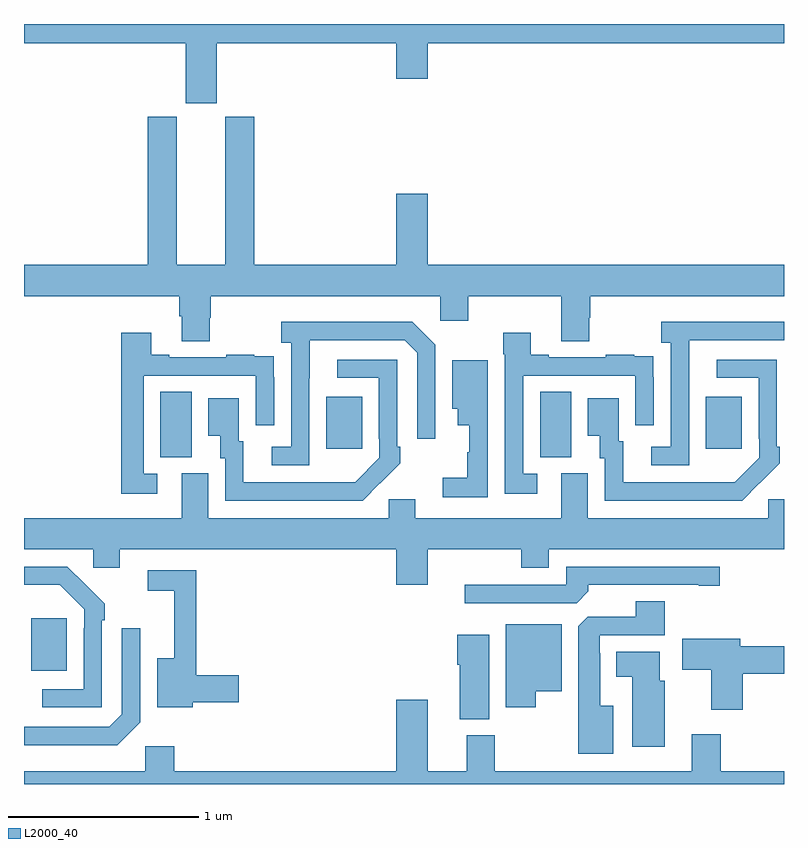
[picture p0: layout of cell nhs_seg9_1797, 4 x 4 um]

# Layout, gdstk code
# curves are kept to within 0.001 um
import gdstk
lib = gdstk.Library(unit=1e-6, precision=1e-09)
def R(c, l, rs):  # rectangles x0, y0, x1, y1
    for r in rs: c.add(gdstk.rectangle(r[:2], r[2:], *l))
def P(c, l, *ps):  # polygons
    for p in ps: c.add(gdstk.Polygon(p, *l))
L2000_40 = (2000, 40)

nhs_seg9_1797 = lib.new_cell('nhs_seg9_1797')
R(nhs_seg9_1797, L2000_40, [(211.037,1213.097,211.225,1213.372), (211.718,1214.221,211.882,1214.564), (213.716,1214.221,213.88,1214.564), (212.591,1214.265,212.779,1214.539), (214.589,1214.265,214.777,1214.539)])
P(nhs_seg9_1797, L2000_40, [(212.014,1216.4),(212.96,1216.4),(212.96,1216.212),(213.124,1216.212),(213.124,1216.4),(215,1216.4),(215,1216.5),(211,1216.5),(211,1216.4),(211.85,1216.4),(211.85,1216.083),(212.014,1216.083)],
  [(211.977,1214.955),(211.982,1214.955),(211.982,1215.068),(213.192,1215.068),(213.192,1214.937),(213.339,1214.937),(213.339,1215.068),(213.827,1215.068),(213.827,1214.83),(213.975,1214.83),(213.975,1214.955),(213.98,1214.955),(213.98,1215.068),(215,1215.068),(215,1215.232),(213.124,1215.232),(213.124,1215.607),(212.96,1215.607),(212.96,1215.232),(212.213,1215.232),(212.213,1216.011),(212.06,1216.011),(212.06,1215.232),(211.804,1215.232),(211.804,1216.011),(211.652,1216.011),(211.652,1215.232),(211,1215.232),(211,1215.068),(211.817,1215.068),(211.817,1214.962),(211.829,1214.962),(211.829,1214.83),(211.977,1214.83)],
  [(214.5,1214.635),(214.501,1214.635),(214.501,1214.835),(215,1214.835),(215,1214.932),(214.353,1214.932),(214.353,1214.822),(214.404,1214.822),(214.404,1214.274),(214.302,1214.274),(214.302,1214.178),(214.5,1214.178)],
  [(212.502,1214.635),(212.503,1214.835),(213.003,1214.835),(213.069,1214.769),(213.069,1214.316),(213.165,1214.316),(213.165,1214.811),(213.044,1214.932),(212.355,1214.932),(212.355,1214.822),(212.406,1214.822),(212.406,1214.274),(212.304,1214.274),(212.304,1214.178),(212.502,1214.178)],
  [(213.7,1214.133),(213.627,1214.133),(213.627,1214.649),(214.218,1214.649),(214.218,1214.388),(214.314,1214.388),(214.314,1214.642),(214.313,1214.642),(214.313,1214.751),(214.211,1214.751),(214.211,1214.758),(214.063,1214.758),(214.063,1214.745),(213.763,1214.745),(213.763,1214.758),(213.667,1214.758),(213.667,1214.875),(213.523,1214.875),(213.523,1214.762),(213.531,1214.762),(213.531,1214.028),(213.7,1214.028)],
  [(211.702,1214.133),(211.629,1214.133),(211.629,1214.649),(212.22,1214.649),(212.22,1214.388),(212.316,1214.388),(212.316,1214.642),(212.315,1214.642),(212.315,1214.751),(212.213,1214.751),(212.213,1214.758),(212.065,1214.758),(212.065,1214.745),(211.765,1214.745),(211.765,1214.758),(211.669,1214.758),(211.669,1214.875),(211.513,1214.875),(211.513,1214.028),(211.702,1214.028)],
  [(214.871,1214.083),(214.872,1214.082),(214.977,1214.187),(214.977,1214.275),(214.962,1214.275),(214.962,1214.733),(214.647,1214.733),(214.647,1214.637),(214.866,1214.637),(214.866,1214.317),(214.869,1214.317),(214.869,1214.217),(214.741,1214.089),(214.153,1214.088),(214.153,1214.304),(214.129,1214.304),(214.129,1214.53),(213.968,1214.53),(213.968,1214.333),(214.031,1214.333),(214.031,1214.214),(214.056,1214.214),(214.056,1213.992),(214.78,1213.992)],
  [(212.873,1214.083),(212.874,1214.082),(212.979,1214.187),(212.979,1214.275),(212.964,1214.275),(212.964,1214.733),(212.649,1214.733),(212.649,1214.637),(212.868,1214.637),(212.868,1214.317),(212.871,1214.317),(212.871,1214.217),(212.743,1214.089),(212.155,1214.088),(212.155,1214.304),(212.131,1214.304),(212.131,1214.53),(211.97,1214.53),(211.97,1214.333),(212.033,1214.333),(212.033,1214.214),(212.058,1214.214),(212.058,1213.992),(212.782,1213.992)],
  [(213.441,1214.491),(213.442,1214.491),(213.442,1214.731),(213.254,1214.731),(213.254,1214.474),(213.284,1214.474),(213.284,1214.387),(213.344,1214.387),(213.344,1214.247),(213.333,1214.247),(213.333,1214.111),(213.204,1214.111),(213.204,1214.01),(213.441,1214.01)],
  [(213.124,1213.736),(213.616,1213.736),(213.616,1213.637),(213.763,1213.637),(213.763,1213.736),(215,1213.736),(215,1213.998),(214.917,1213.998),(214.917,1213.9),(213.967,1213.9),(213.967,1214.136),(213.827,1214.136),(213.827,1213.9),(213.058,1213.9),(213.058,1213.998),(212.919,1213.998),(212.919,1213.9),(211.969,1213.9),(211.969,1214.136),(211.829,1214.136),(211.829,1213.9),(211,1213.9),(211,1213.736),(211.365,1213.736),(211.365,1213.638),(211.504,1213.638),(211.504,1213.736),(212.96,1213.736),(212.96,1213.548),(213.124,1213.548)],
  [(213.971,1213.514),(213.971,1213.548),(214.55,1213.548),(214.55,1213.543),(214.663,1213.543),(214.663,1213.644),(213.855,1213.644),(213.855,1213.548),(213.321,1213.548),(213.321,1213.452),(213.909,1213.452)],
  [(211.41,1213.361),(211.425,1213.361),(211.425,1213.449),(211.228,1213.644),(211,1213.644),(211,1213.548),(211.189,1213.548),(211.317,1213.419),(211.317,1213.319),(211.314,1213.319),(211.314,1212.999),(211.095,1212.999),(211.095,1212.903),(211.41,1212.903)],
  [(211.888,1212.931),(212.131,1212.931),(212.131,1213.073),(211.907,1213.073),(211.907,1213.626),(211.65,1213.626),(211.65,1213.518),(211.79,1213.518),(211.79,1213.162),(211.7,1213.162),(211.7,1212.905),(211.888,1212.905)],
  [(214.102,1212.913),(214.033,1212.913),(214.033,1213.187),(214.029,1213.187),(214.029,1213.284),(214.373,1213.284),(214.373,1213.463),(214.22,1213.463),(214.22,1213.38),(213.966,1213.38),(213.917,1213.331),(213.917,1212.659),(214.102,1212.659)],
  [(213.694,1212.989),(213.829,1212.989),(213.829,1213.342),(213.536,1213.342),(213.536,1212.903),(213.694,1212.903)],
  [(211.611,1212.825),(211.611,1213.321),(211.515,1213.321),(211.515,1212.867),(211.449,1212.801),(211,1212.801),(211,1212.704),(211.49,1212.704)],
  [(213.448,1213.285),(213.281,1213.285),(213.281,1213.127),(213.293,1213.127),(213.293,1212.841),(213.448,1212.841)],
  [(214.784,1213.079),(215,1213.079),(215,1213.226),(214.771,1213.226),(214.771,1213.264),(214.464,1213.264),(214.464,1213.102),(214.616,1213.102),(214.616,1212.891),(214.784,1212.891)],
  [(214.372,1213.044),(214.345,1213.044),(214.345,1213.195),(214.118,1213.195),(214.118,1213.064),(214.202,1213.064),(214.202,1212.696),(214.372,1212.696)],
  [(215,1212.568),(214.667,1212.568),(214.667,1212.763),(214.514,1212.763),(214.514,1212.568),(213.477,1212.568),(213.477,1212.756),(213.329,1212.756),(213.329,1212.568),(213.124,1212.568),(213.124,1212.943),(212.96,1212.943),(212.96,1212.568),(211.79,1212.568),(211.79,1212.7),(211.638,1212.7),(211.638,1212.568),(211,1212.568),(211,1212.5),(215,1212.5)])

lib.write_gds('nhs_seg9_1797.gds')
